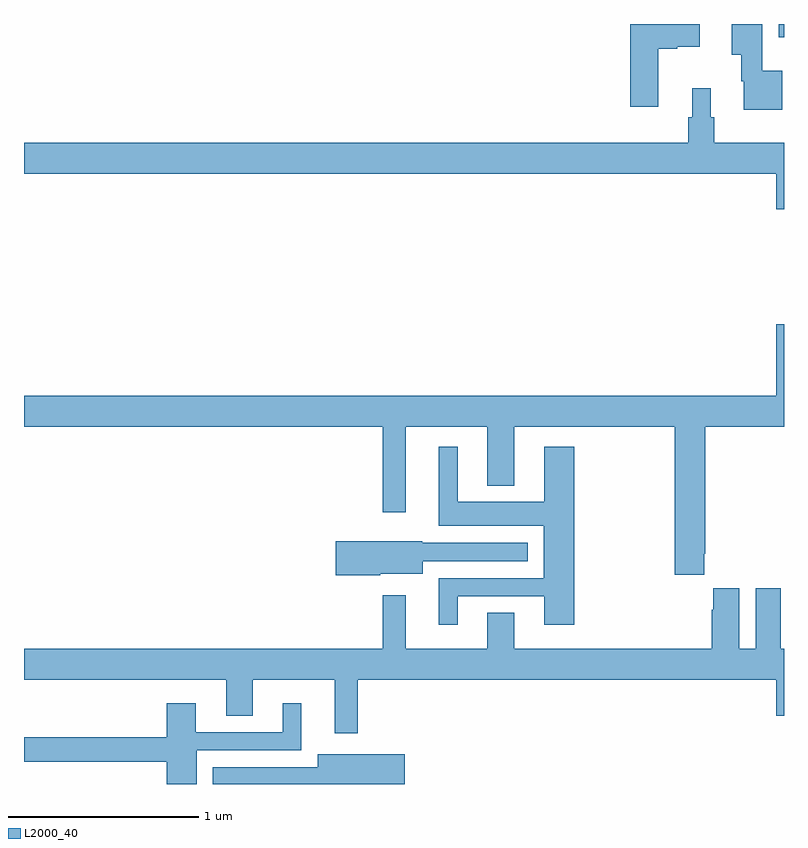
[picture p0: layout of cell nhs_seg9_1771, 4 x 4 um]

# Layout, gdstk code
import gdstk
lib = gdstk.Library(unit=1e-6, precision=1e-09)
def R(c, l, rs):  # rectangles x0, y0, x1, y1
    for r in rs: c.add(gdstk.rectangle(r[:2], r[2:], *l))
def P(c, l, *ps):  # polygons
    for p in ps: c.add(gdstk.Polygon(p, *l))
L2000_40 = (2000, 40)

nhs_seg9_1771 = lib.new_cell('nhs_seg9_1771')
R(nhs_seg9_1771, L2000_40, [(212.973,1238.43,213,1238.5)])
P(nhs_seg9_1771, L2000_40, [(212.338,1238.369),(212.439,1238.369),(212.439,1238.381),(212.557,1238.381),(212.557,1238.5),(212.192,1238.5),(212.192,1238.064),(212.338,1238.064)],
  [(212.992,1238.254),(212.886,1238.254),(212.886,1238.5),(212.726,1238.5),(212.726,1238.339),(212.775,1238.339),(212.775,1238.198),(212.787,1238.198),(212.787,1238.048),(212.992,1238.048)],
  [(213,1237.876),(212.633,1237.876),(212.633,1238.01),(212.614,1238.01),(212.614,1238.161),(212.516,1238.161),(212.516,1238.01),(212.497,1238.01),(212.497,1237.876),(209,1237.876),(209,1237.712),(212.96,1237.712),(212.96,1237.524),(213,1237.524)],
  [(212.581,1235.713),(212.586,1235.713),(212.586,1236.38),(213,1236.38),(213,1236.919),(212.96,1236.919),(212.96,1236.544),(209,1236.544),(209,1236.38),(210.888,1236.38),(210.888,1235.931),(211.009,1235.931),(211.009,1236.38),(211.439,1236.38),(211.439,1236.071),(211.579,1236.071),(211.579,1236.38),(212.426,1236.38),(212.426,1235.601),(212.581,1235.601)],
  [(211.282,1235.487),(211.739,1235.487),(211.739,1235.337),(211.895,1235.337),(211.895,1236.274),(211.739,1236.274),(211.739,1235.986),(211.282,1235.986),(211.282,1236.274),(211.184,1236.274),(211.184,1235.858),(211.736,1235.858),(211.736,1235.583),(211.184,1235.583),(211.184,1235.337),(211.282,1235.337)],
  [(210.876,1235.606),(211.099,1235.606),(211.099,1235.673),(211.651,1235.673),(211.651,1235.769),(211.095,1235.769),(211.095,1235.777),(210.642,1235.777),(210.642,1235.599),(210.876,1235.599)],
  [(210.757,1235.048),(212.96,1235.048),(212.96,1234.86),(213,1234.86),(213,1235.212),(212.983,1235.212),(212.983,1235.53),(212.852,1235.53),(212.852,1235.212),(212.764,1235.212),(212.764,1235.53),(212.627,1235.53),(212.627,1235.417),(212.621,1235.417),(212.621,1235.212),(211.579,1235.212),(211.579,1235.402),(211.439,1235.402),(211.439,1235.212),(211.009,1235.212),(211.009,1235.494),(210.888,1235.494),(210.888,1235.212),(209,1235.212),(209,1235.048),(210.065,1235.048),(210.065,1234.858),(210.205,1234.858),(210.205,1235.048),(210.635,1235.048),(210.635,1234.767),(210.757,1234.767)],
  [(209.908,1234.677),(210.46,1234.677),(210.46,1234.924),(210.362,1234.924),(210.362,1234.773),(209.905,1234.773),(209.905,1234.924),(209.75,1234.924),(209.75,1234.747),(209,1234.747),(209,1234.618),(209.75,1234.618),(209.75,1234.5),(209.908,1234.5)],
  [(211.003,1234.656),(210.545,1234.656),(210.545,1234.587),(209.993,1234.587),(209.993,1234.5),(211.003,1234.5)])

lib.write_gds('nhs_seg9_1771.gds')
